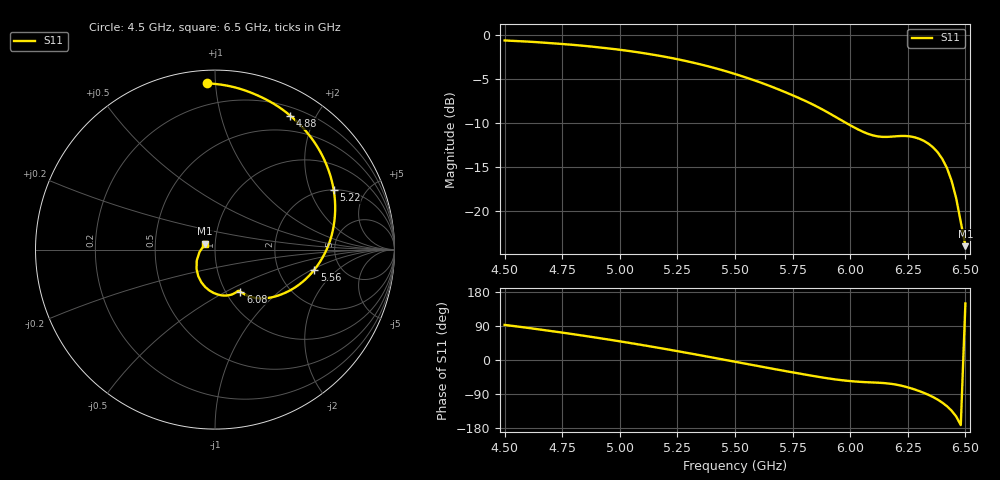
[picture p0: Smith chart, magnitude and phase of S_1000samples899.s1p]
! TOUCHSTONE file generated by CST MICROWAVE STUDIO
! Date and time: Sat Oct 29 17:58:16 2022
! Project name: L.cst
! Parameters = {Di=1.27; Epsilon_r=1.56; InnerDiameter=1.27; Length=2; Lf=10; Lg=60; OuterConductorThickness=0.2921; OuterDiameter=3.6; Wf=3; Wp=41.2; de=1.5; df=6.8; g=0.8; gx=2.7042; gy=4.54223; h=2.34; hf=1.524; px=13.2204; py=11.8973; w=9.7; wx=10.5162; wy=7.35508}
! Header version: 2018
! Port assignment regex: !\s*Touchstone port\s*([0-9]+)\s*=\s*(CST MWS port|CST DS port)\s*([0-9]+|Zmin|Zmax)\s*\(\"(.*)\"\)(\s*mode\s*([0-9]+))?.*
! Touchstone port assignment:
! Touchstone port 1 = CST MWS port 1 ("")
# GHz S DB R 50
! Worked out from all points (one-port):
!   101 points, 4.5 GHz to 6.5 GHz, reference 50 ohm
!   lowest |S11| = -24.0 dB at 6.5 GHz (marker M1), VSWR 1.14, Z = 44.7 + j2.92 ohm
!   |S11| at or under -10 dB: 5.983 GHz to end of sweep
!   S11 on the Smith chart (normalised r, x): 4.5 GHz: 0.07, +0.95; 4.88 GHz: 0.30, +1.67; 5.22 GHz: 2.02, +2.95; 5.56 GHz: 3.22, -1.06; 6.08 GHz: 1.17, -0.59; 6.5 GHz: 0.89, +0.06
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4.5  -0.65 92.6
4.62  -0.81 83.2
4.76  -1.07 71.4
4.88  -1.35 60.6
5  -1.70 49.2
5.12  -2.16 37.2
5.22  -2.62 26.6
5.26  -2.83 22.3
5.32  -3.18 15.7
5.38  -3.56 9.0
5.5  -4.45 -4.6
5.56  -4.96 -11.4
5.66  -5.90 -22.7
5.76  -6.97 -33.6
5.88  -8.48 -46.2
6  -10.25 -55.6
6.08  -11.25 -58.8
6.12  -11.52 -59.9
6.18  -11.55 -63.1
6.26  -11.52 -73.9
6.32  -12.03 -86.8
6.36  -12.77 -97.9
6.4  -14.08 -112.6
6.42  -15.11 -122.0
6.44  -16.54 -133.7
6.46  -18.52 -149.0
6.48  -21.22 -171.8
6.5  -23.96 149.2
